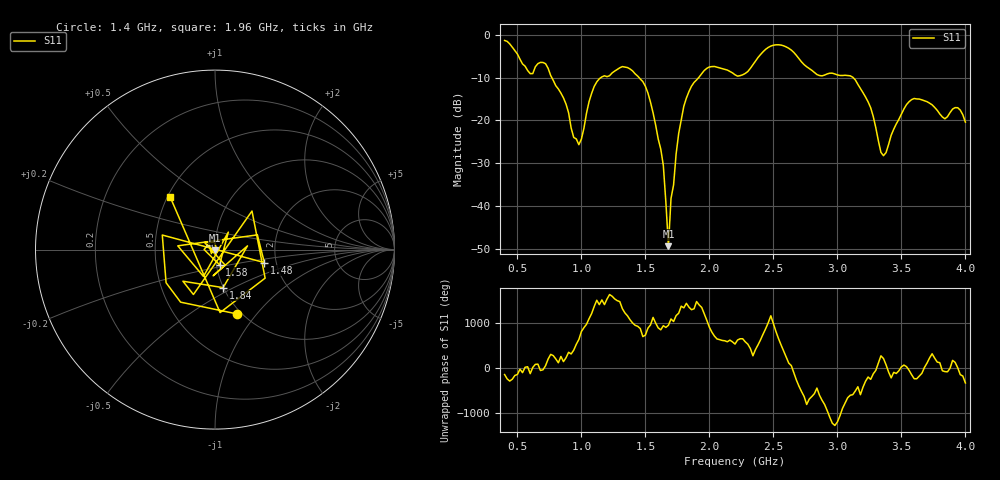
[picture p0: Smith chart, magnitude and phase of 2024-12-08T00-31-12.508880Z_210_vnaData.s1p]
!Created with skrf (http://scikit-rf.org).
# Hz S RI R 50.0
!freq ReS11 ImS11
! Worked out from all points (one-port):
!   181 points, 400 MHz to 4 GHz, reference 50 ohm
!   lowest |S11| = -49.4 dB at 1.68 GHz (marker M1), VSWR 1.01, Z = 49.8 - j0.289 ohm
!   |S11| at or under -10 dB: 768.8 MHz to 1.152 GHz (383.2 MHz wide, 39.9 % of centre); 1.45 GHz to 1.916 GHz (465.4 MHz wide, 27.7 % of centre); 3.123 GHz to end of sweep
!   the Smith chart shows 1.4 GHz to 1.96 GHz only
!   S11 on the Smith chart (normalised r, x): 1.4 GHz: 0.95, -0.80; 1.48 GHz: 1.73, -0.27; 1.58 GHz: 1.04, -0.18; 1.84 GHz: 1.00, -0.44; 1.96 GHz: 0.52, +0.35
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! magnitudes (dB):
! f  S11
! 400 MHz  -1.3
! 600 MHz  -9.1
! 720 MHz  -6.8
! 860 MHz  -14.7
! 980 MHz  -25.7
! 1.1 GHz  -12.0
! 1.3 GHz  -7.7
! 1.4 GHz  -8.4
! 1.48 GHz  -10.9
! 1.58 GHz  -21.1
! 1.64 GHz  -30.5
! 1.68 GHz  -49.4
! 1.7 GHz  -38.2
! 1.76 GHz  -23.1
! 1.84 GHz  -13.3
! 1.96 GHz  -8.3
! 2.2 GHz  -9.3
! 2.48 GHz  -2.6
! 2.66 GHz  -4.1
! 2.84 GHz  -9.3
! 3.1 GHz  -9.6
! 3.26 GHz  -17.0
! 3.36 GHz  -28.2
! 3.56 GHz  -15.6
! 3.7 GHz  -15.6
! 3.84 GHz  -19.6
! 3.94 GHz  -17.0
! 4 GHz  -20.4
